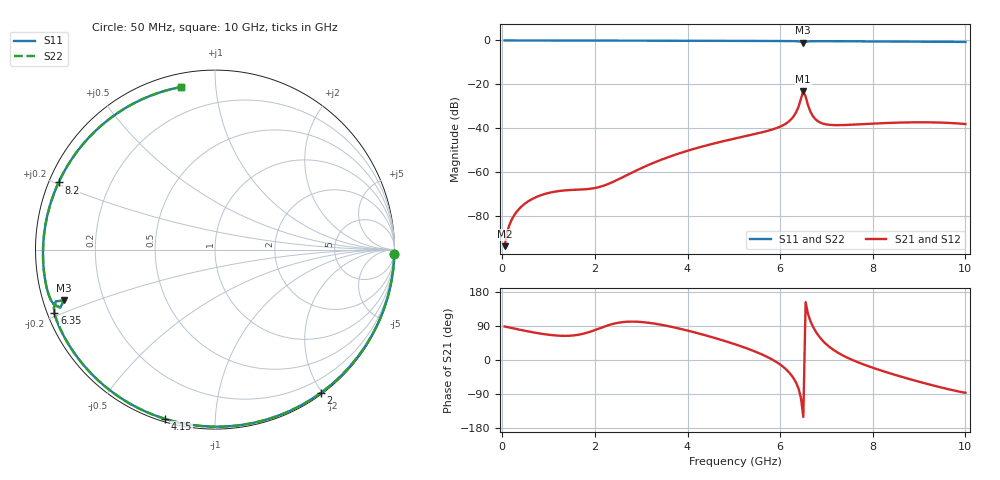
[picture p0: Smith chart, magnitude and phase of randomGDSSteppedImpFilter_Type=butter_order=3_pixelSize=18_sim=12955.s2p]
! freq	dB(S11)	phase(S11)	dB(S12)	phase(S12)
!  dB(S21)	phase(S21)	dB(S22)	phase(S22)
!S-par simulation data
#  GHz  S  DB  R 50
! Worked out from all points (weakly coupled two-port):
!   200 points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, 50 MHz to 10 GHz, reference 50 ohm
!   highest |S21| = -23.19 dB at 6.5 GHz (marker M1); lowest = -93.6 dB at 50 MHz (marker M2)
!   lowest |S11| = -1.0 dB at 6.5 GHz (marker M3), VSWR 16.93, Z = 3.03 - j8.13 ohm
!   |S11| at or under -10 dB: nowhere
!   |S22| runs from -1.0 to 0.0 dB; largest |S21 - S12| = 0
!   S11 on the Smith chart (normalised r, x): 50 MHz: 1, -82; 2 GHz: 0.02, -1.98; 4.15 GHz: 0.01, -0.75; 6.35 GHz: 0.02, -0.19; 8.2 GHz: 0.03, +0.21; 10 GHz: 0.06, +0.81
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0.05  -0.00 -1.4  -93.57 88.4  -93.57 88.4  -0.00 -1.4
0.25  -0.01 -6.9  -79.74 83.2  -79.74 83.2  -0.01 -6.9
0.5  -0.02 -13.7  -74.05 76.8  -74.05 76.8  -0.02 -13.7
0.85  -0.03 -23.2  -70.27 69.1  -70.27 69.1  -0.03 -23.2
1.75  -0.06 -47.1  -67.75 69.3  -67.75 69.3  -0.06 -47.1
2  -0.07 -53.6  -67.12 79.0  -67.12 79.0  -0.07 -53.6
3.4  -0.11 -88.6  -54.53 93.7  -54.53 93.7  -0.11 -88.6
4.15  -0.15 -106.4  -49.24 73.0  -49.24 73.0  -0.15 -106.4
5.05  -0.19 -127.3  -44.47 40.5  -44.47 40.5  -0.19 -127.3
6  -0.26 -149.5  -39.20 -12.0  -39.20 -12.0  -0.26 -149.4
6.2  -0.28 -154.4  -36.62 -33.8  -36.62 -33.8  -0.28 -154.4
6.35  -0.34 -158.6  -32.44 -61.2  -32.44 -61.2  -0.34 -158.5
6.5  -1.03 -161.5  -23.19 -150.4  -23.19 -150.4  -1.02 -161.4
6.55  -0.73 -159.5  -25.50 152.6  -25.50 152.6  -0.72 -159.4
6.6  -0.47 -161.0  -29.39 122.2  -29.39 122.2  -0.47 -161.0
6.7  -0.36 -164.2  -34.19 90.1  -34.19 90.1  -0.36 -164.2
6.85  -0.34 -168.3  -37.18 60.9  -37.18 60.9  -0.34 -168.3
7.05  -0.35 -173.4  -38.35 36.0  -38.35 36.0  -0.35 -173.4
8.2  -0.46 156.8  -37.63 -28.6  -37.63 -28.6  -0.46 156.9
8.35  -0.48 152.6  -37.51 -34.3  -37.51 -34.3  -0.48 152.8
9.15  -0.57 129.3  -37.23 -62.3  -37.23 -62.3  -0.57 129.5
10  -0.67 101.7  -38.02 -86.6  -38.02 -86.6  -0.67 102.0
